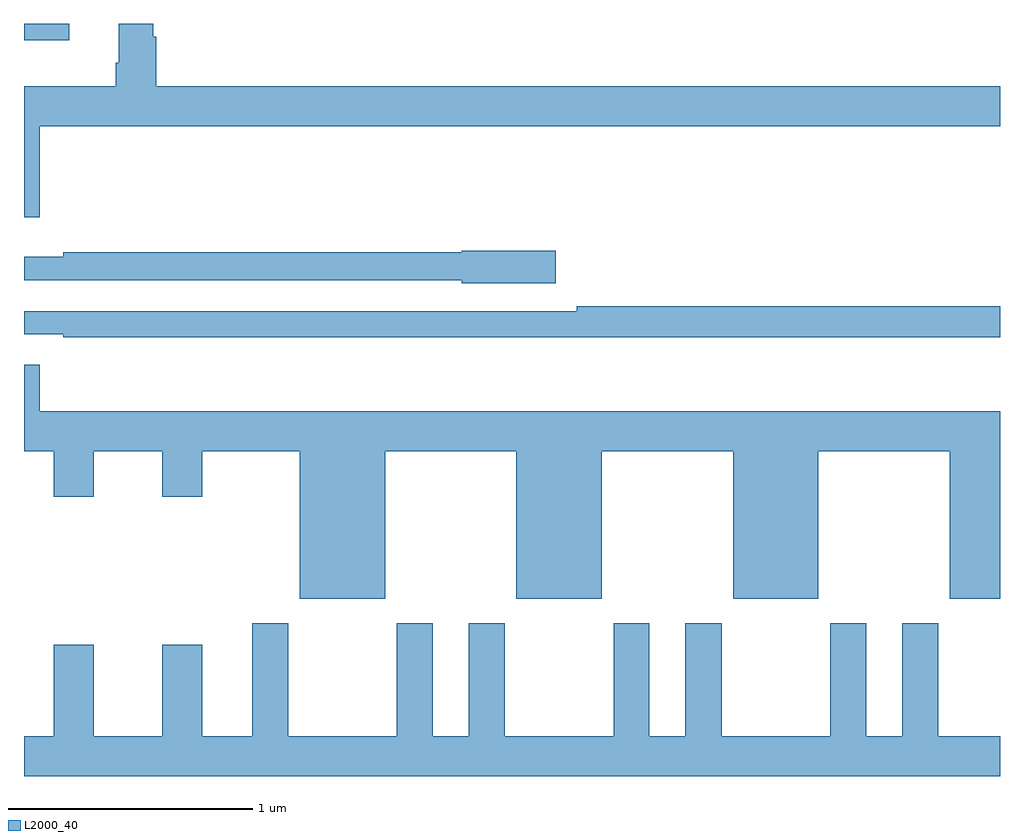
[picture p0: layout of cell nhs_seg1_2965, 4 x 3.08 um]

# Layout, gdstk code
import gdstk
lib = gdstk.Library(unit=1e-6, precision=1e-09)
def R(c, l, rs):  # rectangles x0, y0, x1, y1
    for r in rs: c.add(gdstk.rectangle(r[:2], r[2:], *l))
def P(c, l, *ps):  # polygons
    for p in ps: c.add(gdstk.Polygon(p, *l))
L2000_40 = (2000, 40)

nhs_seg1_2965 = lib.new_cell('nhs_seg1_2965')
R(nhs_seg1_2965, L2000_40, [(273,504.131,273.185,504.199)])
P(nhs_seg1_2965, L2000_40, [(273.064,503.78),(277,503.78),(277,503.944),(273.542,503.944),(273.542,504.146),(273.529,504.146),(273.529,504.199),(273.389,504.199),(273.389,504.04),(273.377,504.04),(273.377,503.944),(273,503.944),(273,503.406),(273.064,503.406)],
  [(275.179,503.27),(274.794,503.27),(274.794,503.264),(273.16,503.264),(273.16,503.245),(273,503.245),(273,503.148),(274.794,503.148),(274.794,503.135),(275.179,503.135)],
  [(277,503.042),(275.266,503.042),(275.266,503.022),(273,503.022),(273,502.926),(273.16,502.926),(273.16,502.914),(277,502.914)],
  [(274.48,502.448),(275.018,502.448),(275.018,501.842),(275.368,501.842),(275.368,502.448),(275.906,502.448),(275.906,501.842),(276.256,501.842),(276.256,502.448),(276.794,502.448),(276.794,501.842),(277,501.842),(277,502.612),(273.064,502.612),(273.064,502.801),(273,502.801),(273,502.448),(273.122,502.448),(273.122,502.26),(273.286,502.26),(273.286,502.448),(273.566,502.448),(273.566,502.26),(273.73,502.26),(273.73,502.448),(274.13,502.448),(274.13,501.842),(274.48,501.842)],
  [(277,501.28),(276.747,501.28),(276.747,501.742),(276.599,501.742),(276.599,501.28),(276.451,501.28),(276.451,501.742),(276.304,501.742),(276.304,501.28),(275.859,501.28),(275.859,501.742),(275.711,501.742),(275.711,501.28),(275.563,501.28),(275.563,501.742),(275.416,501.742),(275.416,501.28),(274.971,501.28),(274.971,501.742),(274.823,501.742),(274.823,501.28),(274.675,501.28),(274.675,501.742),(274.528,501.742),(274.528,501.28),(274.083,501.28),(274.083,501.742),(273.935,501.742),(273.935,501.28),(273.73,501.28),(273.73,501.655),(273.566,501.655),(273.566,501.28),(273.286,501.28),(273.286,501.655),(273.122,501.655),(273.122,501.28),(273,501.28),(273,501.116),(277,501.116)])

lib.write_gds('nhs_seg1_2965.gds')
